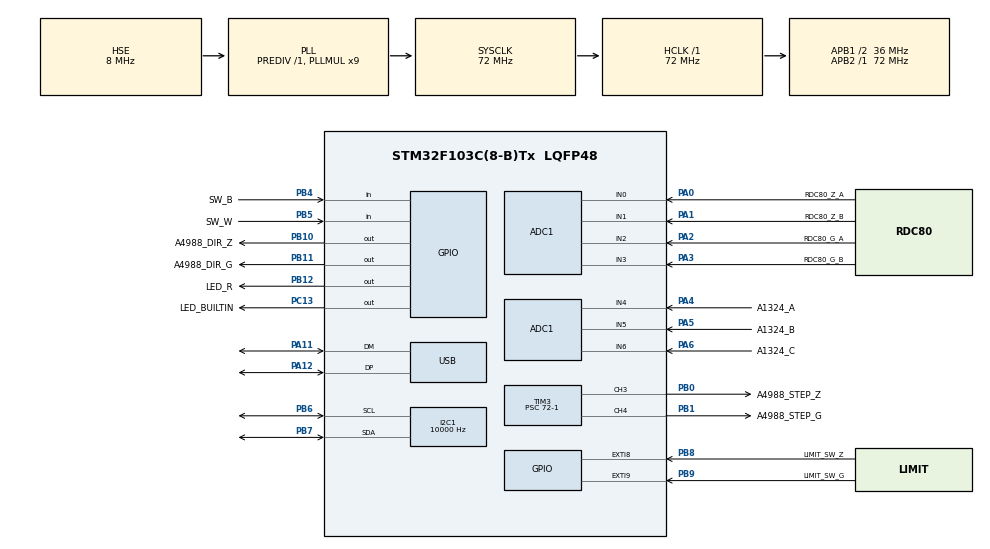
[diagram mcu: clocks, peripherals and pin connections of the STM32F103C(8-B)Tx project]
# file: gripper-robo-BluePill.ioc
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ADC1.Channel-20\#ChannelRegularConversion=ADC_CHANNEL_0
ADC1.Channel-21\#ChannelRegularConversion=ADC_CHANNEL_1
ADC1.Channel-22\#ChannelRegularConversion=ADC_CHANNEL_2
ADC1.Channel-23\#ChannelRegularConversion=ADC_CHANNEL_3
ADC1.Channel-24\#ChannelRegularConversion=ADC_CHANNEL_4
ADC1.Channel-25\#ChannelRegularConversion=ADC_CHANNEL_5
ADC1.Channel-26\#ChannelRegularConversion=ADC_CHANNEL_6
ADC1.ContinuousConvMode=ENABLE
ADC1.EnableInjectedConversion=DISABLE
ADC1.EnableRegularConversion=ENABLE
ADC1.InjNumberOfConversion=1
ADC1.NbrOfConversion=7
ADC1.NbrOfConversionFlag=1
ADC1.Rank-20\#ChannelRegularConversion=1
ADC1.Rank-21\#ChannelRegularConversion=2
ADC1.Rank-22\#ChannelRegularConversion=3
ADC1.Rank-23\#ChannelRegularConversion=4
ADC1.Rank-24\#ChannelRegularConversion=5
ADC1.Rank-25\#ChannelRegularConversion=6
ADC1.Rank-26\#ChannelRegularConversion=7
ADC1.SamplingTime-20\#ChannelRegularConversion=ADC_SAMPLETIME_239CYCLES_5
ADC1.SamplingTime-21\#ChannelRegularConversion=ADC_SAMPLETIME_239CYCLES_5
ADC1.SamplingTime-22\#ChannelRegularConversion=ADC_SAMPLETIME_239CYCLES_5
ADC1.SamplingTime-23\#ChannelRegularConversion=ADC_SAMPLETIME_239CYCLES_5
ADC1.SamplingTime-24\#ChannelRegularConversion=ADC_SAMPLETIME_239CYCLES_5
ADC1.SamplingTime-25\#ChannelRegularConversion=ADC_SAMPLETIME_239CYCLES_5
ADC1.SamplingTime-26\#ChannelRegularConversion=ADC_SAMPLETIME_239CYCLES_5
ADC1.master=1
Dma.ADC1.0.Direction=DMA_PERIPH_TO_MEMORY
Dma.ADC1.0.Instance=DMA1_Channel1
Dma.ADC1.0.MemDataAlignment=DMA_MDATAALIGN_HALFWORD
Dma.ADC1.0.MemInc=DMA_MINC_ENABLE
Dma.ADC1.0.Mode=DMA_CIRCULAR
Dma.ADC1.0.PeriphDataAlignment=DMA_PDATAALIGN_HALFWORD
Dma.ADC1.0.PeriphInc=DMA_PINC_DISABLE
Dma.ADC1.0.Priority=DMA_PRIORITY_HIGH
Dma.Request0=ADC1
I2C1.ClockSpeed=10000
I2C1.NoStretchMode=I2C_NOSTRETCH_ENABLE
I2C1.OwnAddress=0x0C
Mcu.Family=STM32F1
Mcu.Name=STM32F103C(8-B)Tx
Mcu.Package=LQFP48
NVIC.DMA1_Channel1_IRQn=true\:0\:0\:false\:false\:true\:false\:true
NVIC.EXTI9_5_IRQn=true\:0\:0\:false\:false\:true\:true\:true
NVIC.I2C1_EV_IRQn=true\:0\:0\:false\:false\:true\:true\:true
NVIC.PriorityGroup=NVIC_PRIORITYGROUP_4
NVIC.USB_LP_CAN1_RX0_IRQn=true\:0\:0\:false\:false\:true\:false\:true
PA0-WKUP.GPIO_Label=RDC80_Z_A
PA0-WKUP.GPIO_Mode=GPIO_MODE_ANALOG
PA0-WKUP.Signal=ADCx_IN0
PA1.GPIO_Label=RDC80_Z_B
PA1.GPIO_Mode=GPIO_MODE_ANALOG
PA1.Signal=ADCx_IN1
PA11.Mode=Device
PA11.Signal=USB_DM
PA12.Mode=Device
PA12.Signal=USB_DP
PA2.GPIO_Label=RDC80_G_A
PA2.GPIO_Mode=GPIO_MODE_ANALOG
PA2.Signal=ADCx_IN2
PA3.GPIO_Label=RDC80_G_B
PA3.GPIO_Mode=GPIO_MODE_ANALOG
PA3.Signal=ADCx_IN3
PA4.GPIO_Label=A1324_A
PA4.GPIO_Mode=GPIO_MODE_ANALOG
PA4.Signal=ADCx_IN4
PA5.GPIO_Label=A1324_B
PA5.GPIO_Mode=GPIO_MODE_ANALOG
PA5.Signal=ADCx_IN5
PA6.GPIO_Label=A1324_C
PA6.GPIO_Mode=GPIO_MODE_ANALOG
PA6.Signal=ADCx_IN6
PB0.GPIO_Label=A4988_STEP_Z
PB0.GPIO_ModeDefaultPP=GPIO_MODE_AF_PP
PB0.GPIO_Speed=GPIO_SPEED_FREQ_LOW
PB0.Signal=S_TIM3_CH3
PB1.GPIO_Label=A4988_STEP_G
PB1.GPIO_ModeDefaultPP=GPIO_MODE_AF_PP
PB1.GPIO_Speed=GPIO_SPEED_FREQ_LOW
PB1.Signal=S_TIM3_CH4
PB10.GPIO_Label=A4988_DIR_Z
PB10.Signal=GPIO_Output
PB11.GPIO_Label=A4988_DIR_G
PB11.Signal=GPIO_Output
PB12.GPIO_Label=LED_R
PB12.Signal=GPIO_Output
PB4.GPIO_Label=SW_B
PB4.GPIO_PuPd=GPIO_PULLUP
PB4.Signal=GPIO_Input
PB5.GPIO_Label=SW_W
PB5.GPIO_PuPd=GPIO_PULLUP
PB5.Signal=GPIO_Input
PB6.Mode=I2C
PB6.Signal=I2C1_SCL
PB7.Mode=I2C
PB7.Signal=I2C1_SDA
PB8.GPIO_Label=LIMIT_SW_Z
PB8.GPIO_ModeDefaultEXTI=GPIO_MODE_IT_RISING
PB8.GPIO_PuPd=GPIO_PULLDOWN
PB8.Signal=GPXTI8
PB9.GPIO_Label=LIMIT_SW_G
PB9.GPIO_PuPd=GPIO_PULLDOWN
PB9.Signal=GPXTI9
PC13-TAMPER-RTC.GPIO_Label=LED_BUILTIN
PC13-TAMPER-RTC.Signal=GPIO_Output
PD0-OSC_IN.Mode=HSE-External-Oscillator
PD0-OSC_IN.Signal=RCC_OSC_IN
PD1-OSC_OUT.Mode=HSE-External-Oscillator
PD1-OSC_OUT.Signal=RCC_OSC_OUT
ProjectManager.HeapSize=0x200
ProjectManager.StackSize=0x400
ProjectManager.TargetToolchain=STM32CubeIDE
RCC.ADCPresc=RCC_ADCPCLK2_DIV6
RCC.AHBFreq_Value=72000000
RCC.APB1CLKDivider=RCC_HCLK_DIV2
RCC.APB1Freq_Value=36000000
RCC.APB1TimFreq_Value=72000000
RCC.APB2Freq_Value=72000000
RCC.APB2TimFreq_Value=72000000
RCC.HCLKFreq_Value=72000000
RCC.PLLMUL=RCC_PLL_MUL9
RCC.PLLSourceVirtual=RCC_PLLSOURCE_HSE
RCC.SYSCLKFreq_VALUE=72000000
RCC.SYSCLKSource=RCC_SYSCLKSOURCE_PLLCLK
RCC.USBFreq_Value=48000000
RCC.USBPrescaler=RCC_USBCLKSOURCE_PLL_DIV1_5
SH.ADCx_IN0.0=ADC1_IN0,IN0
SH.ADCx_IN1.0=ADC1_IN1,IN1
SH.ADCx_IN2.0=ADC1_IN2,IN2
SH.ADCx_IN3.0=ADC1_IN3,IN3
SH.ADCx_IN4.0=ADC1_IN4,IN4
SH.ADCx_IN5.0=ADC1_IN5,IN5
SH.ADCx_IN6.0=ADC1_IN6,IN6
SH.S_TIM3_CH3.0=TIM3_CH3,PWM Generation3 CH3
SH.S_TIM3_CH4.0=TIM3_CH4,PWM Generation4 CH4
TIM3.AutoReloadPreload=TIM_AUTORELOAD_PRELOAD_ENABLE
TIM3.Channel-PWM\ Generation3\ CH3=TIM_CHANNEL_3
TIM3.Channel-PWM\ Generation4\ CH4=TIM_CHANNEL_4
TIM3.Period=100-1
TIM3.Prescaler=72-1
USB_DEVICE.CLASS_NAME_FS=CDC
USB_DEVICE.VirtualMode=Cdc
USB_DEVICE.VirtualModeFS=Cdc_FS
VP_SYS_VS_ND.Mode=No_Debug
VP_TIM3_VS_ClockSourceINT.Mode=Internal
VP_USB_DEVICE_VS_USB_DEVICE_CDC_FS.Mode=CDC_FS
board=custom

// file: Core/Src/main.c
/* USER CODE BEGIN Header */
/**
 ******************************************************************************
 * @file           : main.c
 * @brief          : Main program body
 ******************************************************************************
 * @attention
 *
 * <h2><center>&copy; Copyright (c) 2020 STMicroelectronics.
 * All rights reserved.</center></h2>
 *
 * This software component is licensed by ST under BSD 3-Clause license,
 * the "License"; You may not use this file except in compliance with the
 * License. You may obtain a copy of the License at:
 *                        opensource.org/licenses/BSD-3-Clause
 *
 ******************************************************************************
 */
/* USER CODE END Header */
#include "main.h"
#include "usb_device.h"

/* USER CODE BEGIN PTD */
typedef struct __potentio_rdc80 {
	double degree;
	int32_t half_rotation; //正方向に180degごとに1加算。
	double initial_degree;
	uint16_t phase_a;
	uint16_t phase_b;
} potentio_rdc80;

/* USER CODE END PTD */

/* USER CODE BEGIN PD */
//セッティング用定数
//グリッパーの目標角度[deg]
#define TARGET_GRIPPER_DEG 30.0
//z軸の目標下げ変位[mm]
#define TARGET_Z_DISP 86.0

//ADC
#define ADC_ARR_SIZE 7
#define ADC_12BIT_MAX 4095
//RDC80
#define ADC_RDC80_DEG_CONST 0.0830 //12bitのADC値から、角度に変換するための定数。
#define ADC_RDC80_MIN 1023-10 //この値未満になった時に、計測する相を切り替える。
#define ADC_RDC80_MAX 3071+10 //この値より上になった時に、計測する相を切り替える。
#define ADC_INIT_VAL_RDC80_ZA 3492
#define ADC_INIT_VAL_RDC80_ZB 1329 //こちらが最初に計測する相
#define ADC_INIT_DEG_Z -29.84131 +180.0 //初期角度(ADの実測値からの計算)
#define ADC_INIT_VAL_RDC80_GA 164
#define ADC_INIT_VAL_RDC80_GB 2152 //こちらが最初に計測する相
#define ADC_INIT_DEG_G 8.63281 - 180.0//初期角度(ADの実測値からの計算)
//(本当は-172degだが、phaseの初期値を-1するためこの角度)
/* USER CODE END PD */

ADC_HandleTypeDef hadc1;
DMA_HandleTypeDef hdma_adc1;

I2C_HandleTypeDef hi2c1;

TIM_HandleTypeDef htim3;

/* USER CODE BEGIN PV */
__IO uint16_t adc_vals[ADC_ARR_SIZE];
potentio_rdc80 prdZ, prdG;
/* USER CODE END PV */

void SystemClock_Config(void);
static void MX_GPIO_Init(void);
static void MX_DMA_Init(void);
static void MX_ADC1_Init(void);
static void MX_I2C1_Init(void);
static void MX_TIM3_Init(void);
/* USER CODE BEGIN PFP */
//void adc2deg_rdc80(potentio_rdc80 *);
void adc2deg_rdc80Z(void);
void driveZ(double);
void adc2deg_rdc80G(void);
void driveG(double);
/* USER CODE END PFP */

int main(void)
{

  /* MCU Configuration--------------------------------------------------------*/

  /* Reset of all peripherals, Initializes the Flash interface and the Systick. */
  HAL_Init();

  /* Configure the system clock */
  SystemClock_Config();

  /* Initialize all configured peripherals */
  MX_GPIO_Init();
  MX_DMA_Init();
  MX_ADC1_Init();
  MX_I2C1_Init();
  MX_TIM3_Init();
  MX_USB_DEVICE_Init();
  /* USER CODE BEGIN 2 */
	//タイマー割り込みの開始
	HAL_TIM_Base_Start_IT(&htim3);

	// Potentio RDc80 initialize
	prdZ.initial_degree = ADC_INIT_DEG_Z;
	prdZ.half_rotation = 1;//ADC_INIT_DEGの値により変える。
	prdG.initial_degree = ADC_INIT_DEG_G;
	prdG.half_rotation = -1;

	//ADCのDMA転送開始
	HAL_ADC_Start_DMA(&hadc1,(uint32_t *)adc_vals, ADC_ARR_SIZE);

  /* USER CODE END 2 */

  /* Infinite loop */
  /* USER CODE BEGIN WHILE */

	//Initialize A4988 pin
	//正の方向 : deg+ : グリッパ閉じる。
	HAL_GPIO_WritePin(A4988_DIR_G_GPIO_Port, A4988_DIR_G_Pin, GPIO_PIN_RESET);
	//正の方向 : deg+ : 下に下がる。
	HAL_GPIO_WritePin(A4988_DIR_Z_GPIO_Port, A4988_DIR_Z_Pin, GPIO_PIN_RESET);

	//Enable Motor PWM
	HAL_TIM_PWM_Start(&htim3, TIM_CHANNEL_3);
	HAL_TIM_PWM_Start(&htim3, TIM_CHANNEL_4);

	HAL_GPIO_WritePin(LED_R_GPIO_Port, LED_R_Pin, GPIO_PIN_SET);

	while (1) {
		//ボタン入力待機
		while(HAL_GPIO_ReadPin(SW_B_GPIO_Port, SW_B_Pin) != GPIO_PIN_RESET){
			HAL_GPIO_TogglePin(LED_R_GPIO_Port, LED_R_Pin);
			HAL_Delay(200);
		}
		HAL_GPIO_WritePin(LED_R_GPIO_Port, LED_R_Pin, GPIO_PIN_RESET);

		//Z軸下げる
		HAL_GPIO_WritePin(LED_BUILTIN_GPIO_Port, LED_BUILTIN_Pin, GPIO_PIN_RESET);
		driveZ(360.0*TARGET_Z_DISP);
		HAL_GPIO_WritePin(LED_BUILTIN_GPIO_Port, LED_BUILTIN_Pin, GPIO_PIN_SET);

		//ボタン入力待機
		while(HAL_GPIO_ReadPin(SW_B_GPIO_Port, SW_B_Pin) != GPIO_PIN_RESET){
			HAL_GPIO_TogglePin(LED_R_GPIO_Port, LED_R_Pin);
			HAL_Delay(200);
		}
		HAL_GPIO_WritePin(LED_R_GPIO_Port, LED_R_Pin, GPIO_PIN_RESET);

		//G軸閉じる
		HAL_GPIO_WritePin(LED_BUILTIN_GPIO_Port, LED_BUILTIN_Pin, GPIO_PIN_RESET);
		driveG(TARGET_GRIPPER_DEG*20.0);
		HAL_GPIO_WritePin(LED_BUILTIN_GPIO_Port, LED_BUILTIN_Pin, GPIO_PIN_SET);
		HAL_Delay(2000);

		//ボタン入力待機
		while(HAL_GPIO_ReadPin(SW_B_GPIO_Port, SW_B_Pin) != GPIO_PIN_RESET){
			HAL_GPIO_TogglePin(LED_R_GPIO_Port, LED_R_Pin);
			HAL_Delay(200);
		}
		HAL_GPIO_WritePin(LED_R_GPIO_Port, LED_R_Pin, GPIO_PIN_RESET);

		//Z軸戻す
		HAL_GPIO_WritePin(LED_BUILTIN_GPIO_Port, LED_BUILTIN_Pin, GPIO_PIN_RESET);
		driveZ(0.0);
		HAL_GPIO_WritePin(LED_BUILTIN_GPIO_Port, LED_BUILTIN_Pin, GPIO_PIN_SET);
		HAL_Delay(2000);

		//ボタン入力待機
		while(HAL_GPIO_ReadPin(SW_B_GPIO_Port, SW_B_Pin) != GPIO_PIN_RESET){
			HAL_GPIO_TogglePin(LED_R_GPIO_Port, LED_R_Pin);
			HAL_Delay(200);
		}
		HAL_GPIO_WritePin(LED_R_GPIO_Port, LED_R_Pin, GPIO_PIN_RESET);

		//G軸戻す
		HAL_GPIO_WritePin(LED_BUILTIN_GPIO_Port, LED_BUILTIN_Pin, GPIO_PIN_RESET);
		driveG(0.0);
		HAL_GPIO_WritePin(LED_BUILTIN_GPIO_Port, LED_BUILTIN_Pin, GPIO_PIN_SET);
		HAL_Delay(2000);
    /* USER CODE END WHILE */

	}
}

void SystemClock_Config(void)
{
  RCC_OscInitTypeDef RCC_OscInitStruct = {0};
  RCC_ClkInitTypeDef RCC_ClkInitStruct = {0};
  RCC_PeriphCLKInitTypeDef PeriphClkInit = {0};

  /** Initializes the RCC Oscillators according to the specified parameters
  * in the RCC_OscInitTypeDef structure.
  */
  RCC_OscInitStruct.OscillatorType = RCC_OSCILLATORTYPE_HSE;
  RCC_OscInitStruct.HSEState = RCC_HSE_ON;
  RCC_OscInitStruct.HSEPredivValue = RCC_HSE_PREDIV_DIV1;
  RCC_OscInitStruct.HSIState = RCC_HSI_ON;
  RCC_OscInitStruct.PLL.PLLState = RCC_PLL_ON;
  RCC_OscInitStruct.PLL.PLLSource = RCC_PLLSOURCE_HSE;
  RCC_OscInitStruct.PLL.PLLMUL = RCC_PLL_MUL9;
  if (HAL_RCC_OscConfig(&RCC_OscInitStruct) != HAL_OK)
  {
    Error_Handler();
  }
  /** Initializes the CPU, AHB and APB buses clocks
  */
  RCC_ClkInitStruct.ClockType = RCC_CLOCKTYPE_HCLK|RCC_CLOCKTYPE_SYSCLK
                              |RCC_CLOCKTYPE_PCLK1|RCC_CLOCKTYPE_PCLK2;
  RCC_ClkInitStruct.SYSCLKSource = RCC_SYSCLKSOURCE_PLLCLK;
  RCC_ClkInitStruct.AHBCLKDivider = RCC_SYSCLK_DIV1;
  RCC_ClkInitStruct.APB1CLKDivider = RCC_HCLK_DIV2;
  RCC_ClkInitStruct.APB2CLKDivider = RCC_HCLK_DIV1;

  if (HAL_RCC_ClockConfig(&RCC_ClkInitStruct, FLASH_LATENCY_2) != HAL_OK)
  {
    Error_Handler();
  }
  PeriphClkInit.PeriphClockSelection = RCC_PERIPHCLK_ADC|RCC_PERIPHCLK_USB;
  PeriphClkInit.AdcClockSelection = RCC_ADCPCLK2_DIV6;
  PeriphClkInit.UsbClockSelection = RCC_USBCLKSOURCE_PLL_DIV1_5;
  if (HAL_RCCEx_PeriphCLKConfig(&PeriphClkInit) != HAL_OK)
  {
    Error_Handler();
  }
}

static void MX_ADC1_Init(void)
{

  ADC_ChannelConfTypeDef sConfig = {0};

  /** Common config
  */
  hadc1.Instance = ADC1;
  hadc1.Init.ScanConvMode = ADC_SCAN_ENABLE;
  hadc1.Init.ContinuousConvMode = ENABLE;
  hadc1.Init.DiscontinuousConvMode = DISABLE;
  hadc1.Init.ExternalTrigConv = ADC_SOFTWARE_START;
  hadc1.Init.DataAlign = ADC_DATAALIGN_RIGHT;
  hadc1.Init.NbrOfConversion = 7;
  if (HAL_ADC_Init(&hadc1) != HAL_OK)
  {
    Error_Handler();
  }
  /** Configure Regular Channel
  */
  sConfig.Channel = ADC_CHANNEL_0;
  sConfig.Rank = ADC_REGULAR_RANK_1;
  sConfig.SamplingTime = ADC_SAMPLETIME_239CYCLES_5;
  if (HAL_ADC_ConfigChannel(&hadc1, &sConfig) != HAL_OK)
  {
    Error_Handler();
  }
  /** Configure Regular Channel
  */
  sConfig.Channel = ADC_CHANNEL_1;
  sConfig.Rank = ADC_REGULAR_RANK_2;
  if (HAL_ADC_ConfigChannel(&hadc1, &sConfig) != HAL_OK)
  {
    Error_Handler();
  }
  /** Configure Regular Channel
  */
  sConfig.Channel = ADC_CHANNEL_2;
  sConfig.Rank = ADC_REGULAR_RANK_3;
  if (HAL_ADC_ConfigChannel(&hadc1, &sConfig) != HAL_OK)
  {
    Error_Handler();
  }
  /** Configure Regular Channel
  */
  sConfig.Channel = ADC_CHANNEL_3;
  sConfig.Rank = ADC_REGULAR_RANK_4;
  if (HAL_ADC_ConfigChannel(&hadc1, &sConfig) != HAL_OK)
  {
    Error_Handler();
  }
  /** Configure Regular Channel
  */
  sConfig.Channel = ADC_CHANNEL_4;
  sConfig.Rank = ADC_REGULAR_RANK_5;
  if (HAL_ADC_ConfigChannel(&hadc1, &sConfig) != HAL_OK)
  {
    Error_Handler();
  }
  /** Configure Regular Channel
  */
  sConfig.Channel = ADC_CHANNEL_5;
  sConfig.Rank = ADC_REGULAR_RANK_6;
  if (HAL_ADC_ConfigChannel(&hadc1, &sConfig) != HAL_OK)
  {
    Error_Handler();
  }
  /** Configure Regular Channel
  */
  sConfig.Channel = ADC_CHANNEL_6;
  sConfig.Rank = ADC_REGULAR_RANK_7;
  if (HAL_ADC_ConfigChannel(&hadc1, &sConfig) != HAL_OK)
  {
    Error_Handler();
  }
  /* USER CODE BEGIN ADC1_Init 2 */
  HAL_ADCEx_Calibration_Start(&hadc1);
  /* USER CODE END ADC1_Init 2 */

}

static void MX_I2C1_Init(void)
{

  hi2c1.Instance = I2C1;
  hi2c1.Init.ClockSpeed = 10000;
  hi2c1.Init.DutyCycle = I2C_DUTYCYCLE_2;
  hi2c1.Init.OwnAddress1 = 24;
  hi2c1.Init.AddressingMode = I2C_ADDRESSINGMODE_7BIT;
  hi2c1.Init.DualAddressMode = I2C_DUALADDRESS_DISABLE;
  hi2c1.Init.OwnAddress2 = 0;
  hi2c1.Init.GeneralCallMode = I2C_GENERALCALL_DISABLE;
  hi2c1.Init.NoStretchMode = I2C_NOSTRETCH_ENABLE;
  if (HAL_I2C_Init(&hi2c1) != HAL_OK)
  {
    Error_Handler();
  }

}

static void MX_TIM3_Init(void)
{

  TIM_ClockConfigTypeDef sClockSourceConfig = {0};
  TIM_MasterConfigTypeDef sMasterConfig = {0};
  TIM_OC_InitTypeDef sConfigOC = {0};

  htim3.Instance = TIM3;
  htim3.Init.Prescaler = 72-1;
  htim3.Init.CounterMode = TIM_COUNTERMODE_UP;
  htim3.Init.Period = 100-1;
  htim3.Init.ClockDivision = TIM_CLOCKDIVISION_DIV1;
  htim3.Init.AutoReloadPreload = TIM_AUTORELOAD_PRELOAD_ENABLE;
  if (HAL_TIM_Base_Init(&htim3) != HAL_OK)
  {
    Error_Handler();
  }
  sClockSourceConfig.ClockSource = TIM_CLOCKSOURCE_INTERNAL;
  if (HAL_TIM_ConfigClockSource(&htim3, &sClockSourceConfig) != HAL_OK)
  {
    Error_Handler();
  }
  if (HAL_TIM_PWM_Init(&htim3) != HAL_OK)
  {
    Error_Handler();
  }
  sMasterConfig.MasterOutputTrigger = TIM_TRGO_RESET;
  sMasterConfig.MasterSlaveMode = TIM_MASTERSLAVEMODE_DISABLE;
  if (HAL_TIMEx_MasterConfigSynchronization(&htim3, &sMasterConfig) != HAL_OK)
  {
    Error_Handler();
  }
  sConfigOC.OCMode = TIM_OCMODE_PWM1;
  sConfigOC.Pulse = 0;
  sConfigOC.OCPolarity = TIM_OCPOLARITY_HIGH;
  sConfigOC.OCFastMode = TIM_OCFAST_DISABLE;
  if (HAL_TIM_PWM_ConfigChannel(&htim3, &sConfigOC, TIM_CHANNEL_3) != HAL_OK)
  {
    Error_Handler();
  }
  if (HAL_TIM_PWM_ConfigChannel(&htim3, &sConfigOC, TIM_CHANNEL_4) != HAL_OK)
  {
    Error_Handler();
  }
  HAL_TIM_MspPostInit(&htim3);

}

static void MX_DMA_Init(void)
{

  /* DMA controller clock enable */
  __HAL_RCC_DMA1_CLK_ENABLE();

  /* DMA interrupt init */
  /* DMA1_Channel1_IRQn interrupt configuration */
  HAL_NVIC_SetPriority(DMA1_Channel1_IRQn, 0, 0);
  HAL_NVIC_EnableIRQ(DMA1_Channel1_IRQn);

}

static void MX_GPIO_Init(void)
{
  GPIO_InitTypeDef GPIO_InitStruct = {0};

  /* GPIO Ports Clock Enable */
  __HAL_RCC_GPIOC_CLK_ENABLE();
  __HAL_RCC_GPIOD_CLK_ENABLE();
  __HAL_RCC_GPIOA_CLK_ENABLE();
  __HAL_RCC_GPIOB_CLK_ENABLE();

  /*Configure GPIO pin Output Level */
  HAL_GPIO_WritePin(LED_BUILTIN_GPIO_Port, LED_BUILTIN_Pin, GPIO_PIN_RESET);

  /*Configure GPIO pin Output Level */
  HAL_GPIO_WritePin(GPIOB, A4988_DIR_Z_Pin|A4988_DIR_G_Pin|LED_R_Pin, GPIO_PIN_RESET);

  /*Configure GPIO pin : LED_BUILTIN_Pin */
  GPIO_InitStruct.Pin = LED_BUILTIN_Pin;
  GPIO_InitStruct.Mode = GPIO_MODE_OUTPUT_PP;
  GPIO_InitStruct.Pull = GPIO_NOPULL;
  GPIO_InitStruct.Speed = GPIO_SPEED_FREQ_LOW;
  HAL_GPIO_Init(LED_BUILTIN_GPIO_Port, &GPIO_InitStruct);

  /*Configure GPIO pins : A4988_DIR_Z_Pin A4988_DIR_G_Pin LED_R_Pin */
  GPIO_InitStruct.Pin = A4988_DIR_Z_Pin|A4988_DIR_G_Pin|LED_R_Pin;
  GPIO_InitStruct.Mode = GPIO_MODE_OUTPUT_PP;
  GPIO_InitStruct.Pull = GPIO_NOPULL;
  GPIO_InitStruct.Speed = GPIO_SPEED_FREQ_LOW;
  HAL_GPIO_Init(GPIOB, &GPIO_InitStruct);

  /*Configure GPIO pins : SW_B_Pin SW_W_Pin */
  GPIO_InitStruct.Pin = SW_B_Pin|SW_W_Pin;
  GPIO_InitStruct.Mode = GPIO_MODE_INPUT;
  GPIO_InitStruct.Pull = GPIO_PULLUP;
  HAL_GPIO_Init(GPIOB, &GPIO_InitStruct);

  /*Configure GPIO pins : LIMIT_SW_Z_Pin LIMIT_SW_G_Pin */
  GPIO_InitStruct.Pin = LIMIT_SW_Z_Pin|LIMIT_SW_G_Pin;
  GPIO_InitStruct.Mode = GPIO_MODE_IT_RISING;
  GPIO_InitStruct.Pull = GPIO_PULLDOWN;
  HAL_GPIO_Init(GPIOB, &GPIO_InitStruct);

  /* EXTI interrupt init*/
  HAL_NVIC_SetPriority(EXTI9_5_IRQn, 0, 0);
  HAL_NVIC_EnableIRQ(EXTI9_5_IRQn);

}

/* USER CODE BEGIN 4 */
void HAL_GPIO_EXTI_Callback(uint16_t GPIO_Pin) {
	//Todo:リミットスイッチ用の割り込み
	if (GPIO_Pin == LIMIT_SW_G_Pin) {
	}
	if (GPIO_Pin == LIMIT_SW_Z_Pin) {
	}
}

//下に下げると負の値になる。
void adc2deg_rdc80Z(void){
	if(((prdZ.half_rotation) %2) == 0){
		//a相が計測範囲内
		prdZ.degree = (double) ((prdZ.phase_a * ADC_RDC80_DEG_CONST) - 170.0);
		if(prdZ.phase_a < 683){
			//計測範囲を下回ったので、b相で計測する。
			prdZ.degree = (double) ((prdZ.phase_b * ADC_RDC80_DEG_CONST) - 170.0);
			prdZ.half_rotation--;
		}else if (prdZ.phase_a > 3413){
			//計測範囲を上回ったので、b相で計測する。
			prdZ.degree = (double) ((prdZ.phase_b * ADC_RDC80_DEG_CONST) - 170.0);
			prdZ.half_rotation++;
		}
	}else{
		//b相が計測範囲内
		prdZ.degree = (double) ((prdZ.phase_b * ADC_RDC80_DEG_CONST) - 170.0);
		if(prdZ.phase_b < 683){
			//計測範囲を下回ったので、a相で再計測する。
			prdZ.degree = (double) ((prdZ.phase_a * ADC_RDC80_DEG_CONST) - 170.0);
			prdZ.half_rotation--;
		}else if(prdZ.phase_b > 3413){
			//計測範囲を超えたので、a相で再計測する。
			prdZ.degree = (double) ((prdZ.phase_a * ADC_RDC80_DEG_CONST) - 170.0);
			prdZ.half_rotation++;
		}
	}
	prdZ.degree += (double) ((prdZ.half_rotation) * 180.0);
	prdZ.degree -= prdZ.initial_degree;
}

void adc2deg_rdc80G(void){
	if(((prdG.half_rotation) %2) == 0){
		//a相が計測範囲内
		prdG.degree = (double) ((prdG.phase_a * ADC_RDC80_DEG_CONST) - 170.0);
		if(prdG.phase_a < 683){
			//計測範囲を下回ったので、b相で計測する。
			prdG.degree = (double) ((prdG.phase_b * ADC_RDC80_DEG_CONST) - 170.0);
			prdG.half_rotation--;
		}else if (prdG.phase_a > 3413){
			//計測範囲を上回ったので、b相で計測する。
			prdG.degree = (double) ((prdG.phase_b * ADC_RDC80_DEG_CONST) - 170.0);
			prdG.half_rotation++;
		}
	}else{
		//b相が計測範囲内
		prdG.degree = (double) ((prdG.phase_b * ADC_RDC80_DEG_CONST) - 170.0);
		if(prdG.phase_b < 683){
			//計測範囲を下回ったので、a相で再計測する。
			prdG.degree = (double) ((prdG.phase_a * ADC_RDC80_DEG_CONST) - 170.0);
			prdG.half_rotation--;
		}else if(prdG.phase_b > 3413){
			//計測範囲を超えたので、a相で再計測する。
			prdG.degree = (double) ((prdG.phase_a * ADC_RDC80_DEG_CONST) - 170.0);
			prdG.half_rotation++;
		}
	}
	prdG.degree += (double) ((prdG.half_rotation) * 180.0);
	prdG.degree -= prdG.initial_degree;
}

void HAL_ADC_ConvCpltCallback(ADC_HandleTypeDef *hadc) {
	prdZ.phase_a = adc_vals[0];
	prdZ.phase_b = adc_vals[1];
	prdG.phase_a = adc_vals[2];
	prdG.phase_b = adc_vals[3];
}

//Z軸モータを指定の角度に駆動する関数。
//プラスを指定すると、下に動く。
void driveZ(double command_deg){
	uint8_t degOK = 0;
	double tmpDeg = 0.0;
	while (!degOK){
		adc2deg_rdc80Z();
		tmpDeg = command_deg + prdZ.degree;
		//adc2deg_rdc80Zは下方向へ動かすとマイナス。しかし、入力は下をプラスにしたいのでこうした。
		if(tmpDeg>=3.0){
			if(tmpDeg>=120.0)__HAL_TIM_SET_PRESCALER(&htim3,72-1);//Change motor speed
			else __HAL_TIM_SET_PRESCALER(&htim3,1152-1);//Change motor speed
			HAL_GPIO_WritePin(A4988_DIR_Z_GPIO_Port, A4988_DIR_Z_Pin, GPIO_PIN_RESET);
			__HAL_TIM_SET_COMPARE(&htim3, TIM_CHANNEL_3, 50);//Motor Z
		}else if (tmpDeg<= -3.0){
			if(tmpDeg<=-120.0)__HAL_TIM_SET_PRESCALER(&htim3,72-1);//Change motor speed
			else __HAL_TIM_SET_PRESCALER(&htim3,1152-1);//Change motor speed
			HAL_GPIO_WritePin(A4988_DIR_Z_GPIO_Port, A4988_DIR_Z_Pin, GPIO_PIN_SET);
			__HAL_TIM_SET_COMPARE(&htim3, TIM_CHANNEL_3, 50);//Motor Z
		}else {
			HAL_GPIO_WritePin(A4988_DIR_Z_GPIO_Port, A4988_DIR_Z_Pin, GPIO_PIN_RESET);
			__HAL_TIM_SET_COMPARE(&htim3, TIM_CHANNEL_3, 0);//Motor Z
			degOK = 1;
		}
		HAL_Delay(1);
	}
}

//プラスを指定すると閉じる。
void driveG(double command_deg){
	uint8_t degOK = 0;
	double tmpDeg = 0.0;
	while (!degOK){
		adc2deg_rdc80G();
		tmpDeg = command_deg - prdG.degree;
		if(tmpDeg>=5.0){
			if(tmpDeg>=120.0)__HAL_TIM_SET_PRESCALER(&htim3,72-1);//Change motor speed
			else __HAL_TIM_SET_PRESCALER(&htim3,1152-1);//Change motor speed
			HAL_GPIO_WritePin(A4988_DIR_G_GPIO_Port, A4988_DIR_G_Pin, GPIO_PIN_RESET);
			__HAL_TIM_SET_COMPARE(&htim3, TIM_CHANNEL_4, 50);//Motor G
		}else if (tmpDeg<= -5.0){
			if(tmpDeg<=-120.0)__HAL_TIM_SET_PRESCALER(&htim3,72-1);//Change motor speed
			else __HAL_TIM_SET_PRESCALER(&htim3,1152-1);//Change motor speed
			HAL_GPIO_WritePin(A4988_DIR_G_GPIO_Port, A4988_DIR_G_Pin, GPIO_PIN_SET);
			__HAL_TIM_SET_COMPARE(&htim3, TIM_CHANNEL_4, 50);//Motor G
		}else {
			HAL_GPIO_WritePin(A4988_DIR_G_GPIO_Port, A4988_DIR_G_Pin, GPIO_PIN_RESET);
			__HAL_TIM_SET_COMPARE(&htim3, TIM_CHANNEL_4, 0);//Motor G
			degOK = 1;
		}
		HAL_Delay(1);
	}
}

/* USER CODE END 4 */

void Error_Handler(void)
{
}

/************************ (C) COPYRIGHT STMicroelectronics *****END OF FILE****/
